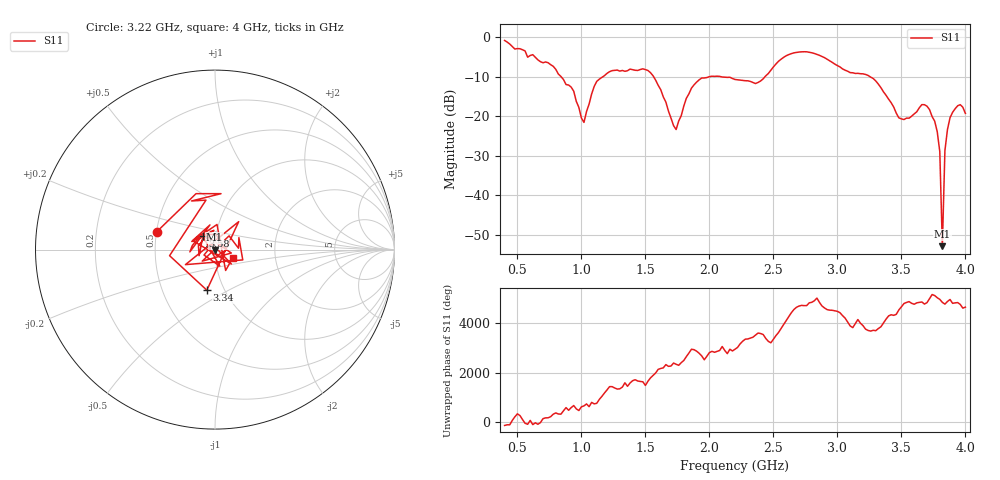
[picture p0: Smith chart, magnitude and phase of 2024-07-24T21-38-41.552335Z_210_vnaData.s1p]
!Created with skrf (http://scikit-rf.org).
# Hz S RI R 50.0
!freq ReS11 ImS11
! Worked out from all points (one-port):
!   181 points, 400 MHz to 4 GHz, reference 50 ohm
!   lowest |S11| = -52.8 dB at 3.82 GHz (marker M1), VSWR 1.00, Z = 49.8 + j0.039 ohm
!   |S11| at or under -10 dB: 1.565 GHz to 1.996 GHz (431.5 MHz wide, 24.2 % of centre); 2.094 GHz to 2.434 GHz (339.9 MHz wide, 15 % of centre); 3.256 GHz to end of sweep (the widest 3 of 4)
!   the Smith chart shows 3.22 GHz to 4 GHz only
!   S11 on the Smith chart (normalised r, x): 3.22 GHz: 0.50, +0.11; 3.34 GHz: 0.83, -0.40; 3.58 GHz: 0.86, +0.13; 4 GHz: 1.21, -0.11
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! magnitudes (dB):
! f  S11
! 400 MHz  -0.8
! 860 MHz  -10.7
! 940 MHz  -13.6
! 1.02 GHz  -21.5
! 1.12 GHz  -11.1
! 1.3 GHz  -8.6
! 1.52 GHz  -8.4
! 1.62 GHz  -13.3
! 1.72 GHz  -22.4
! 1.76 GHz  -21.2
! 1.92 GHz  -10.8
! 2.2 GHz  -10.7
! 2.38 GHz  -11.4
! 2.66 GHz  -3.9
! 3.1 GHz  -8.9
! 3.22 GHz  -9.4
! 3.34 GHz  -12.7
! 3.48 GHz  -20.4
! 3.56 GHz  -20.5
! 3.58 GHz  -20.0
! 3.7 GHz  -17.4
! 3.78 GHz  -23.9
! 3.8 GHz  -28.9
! 3.82 GHz  -52.8
! 3.84 GHz  -28.7
! 3.86 GHz  -23.3
! 3.94 GHz  -17.3
! 4 GHz  -19.3
